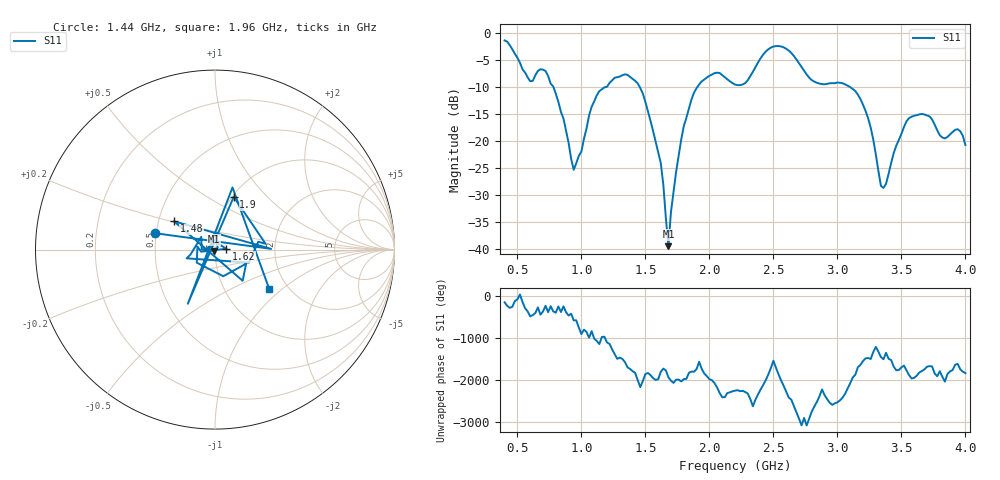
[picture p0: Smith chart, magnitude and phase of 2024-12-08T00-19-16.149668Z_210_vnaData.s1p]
!Created with skrf (http://scikit-rf.org).
# Hz S RI R 50.0
!freq ReS11 ImS11
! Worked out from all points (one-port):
!   181 points, 400 MHz to 4 GHz, reference 50 ohm
!   lowest |S11| = -39.4 dB at 1.68 GHz (marker M1), VSWR 1.02, Z = 49.4 - j0.856 ohm
!   |S11| at or under -10 dB: 782.7 MHz to 1.179 GHz (395.9 MHz wide, 40.4 % of centre); 1.458 GHz to 1.903 GHz (445.8 MHz wide, 26.5 % of centre); 3.103 GHz to end of sweep
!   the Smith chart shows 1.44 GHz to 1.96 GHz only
!   S11 on the Smith chart (normalised r, x): 1.44 GHz: 0.49, +0.10; 1.48 GHz: 0.60, +0.21; 1.62 GHz: 1.13, +0.01; 1.9 GHz: 1.02, +0.66; 1.96 GHz: 1.61, -0.83
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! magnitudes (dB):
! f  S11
! 400 MHz  -1.3
! 600 MHz  -8.8
! 720 MHz  -7.0
! 860 MHz  -15.8
! 940 MHz  -25.2
! 1.12 GHz  -11.5
! 1.3 GHz  -8.0
! 1.44 GHz  -9.2
! 1.48 GHz  -11.1
! 1.62 GHz  -24.0
! 1.68 GHz  -39.4
! 1.7 GHz  -33.0
! 1.76 GHz  -22.6
! 1.8 GHz  -17.2
! 1.9 GHz  -10.1
! 1.96 GHz  -8.5
! 2.2 GHz  -9.5
! 2.48 GHz  -2.6
! 2.66 GHz  -4.2
! 2.82 GHz  -8.9
! 3.1 GHz  -9.9
! 3.24 GHz  -15.7
! 3.36 GHz  -28.6
! 3.56 GHz  -15.7
! 3.72 GHz  -15.4
! 3.84 GHz  -19.4
! 3.94 GHz  -17.7
! 4 GHz  -20.7
